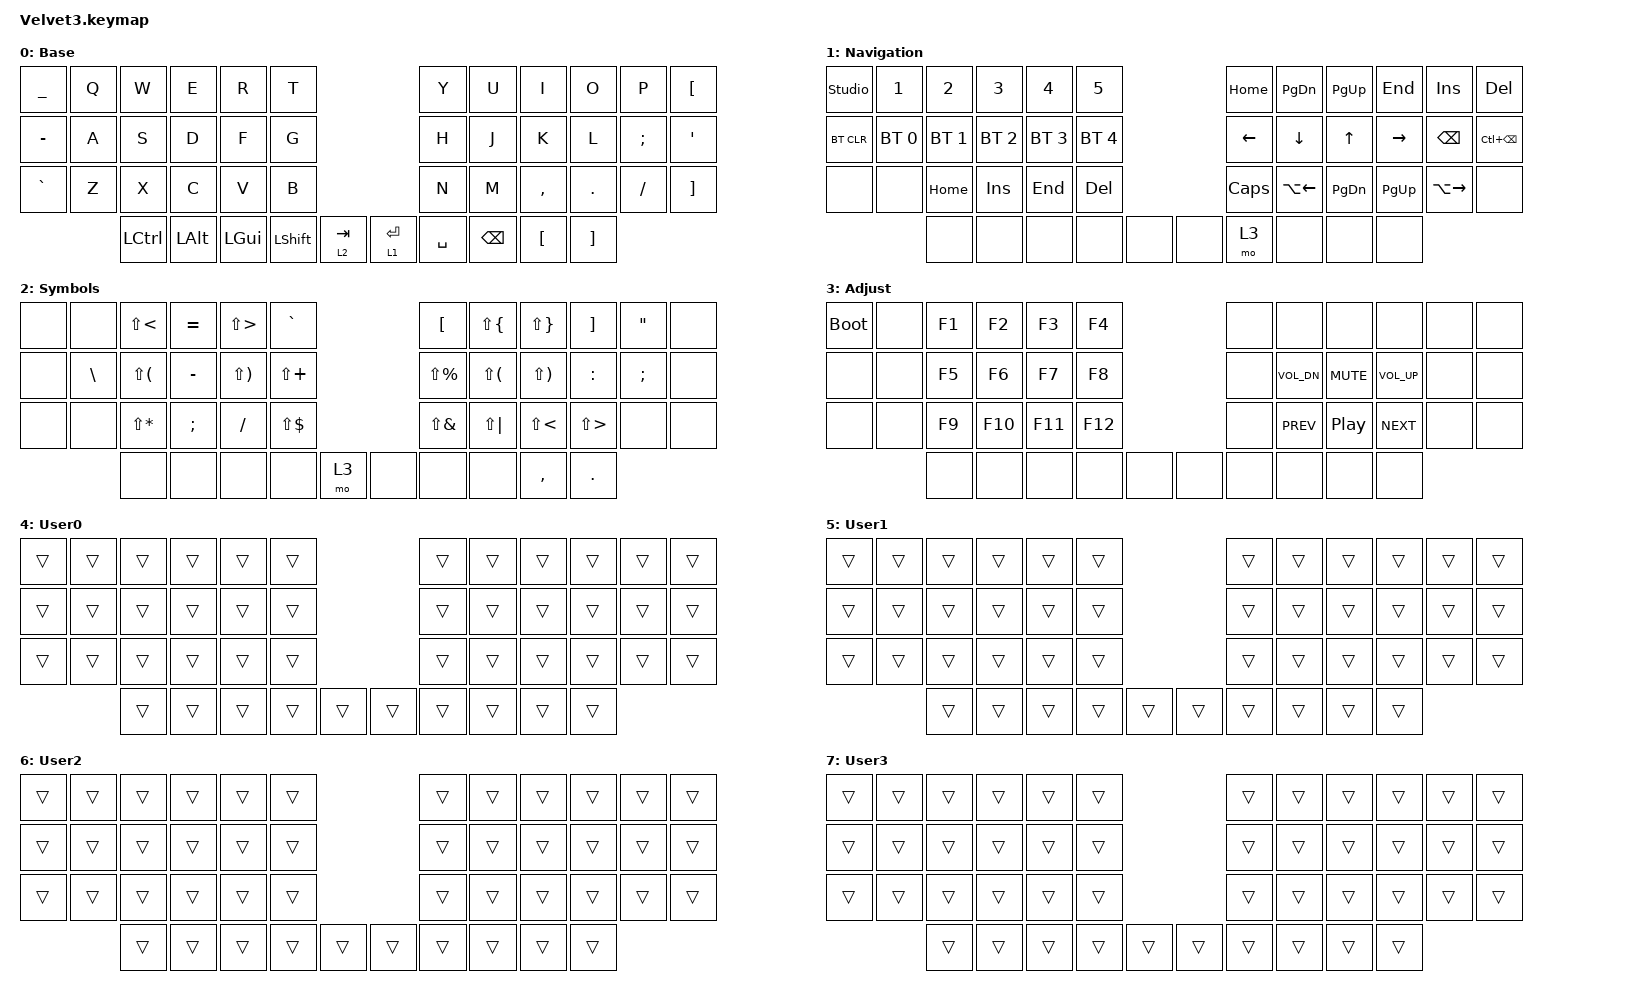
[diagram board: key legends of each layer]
#include <behaviors.dtsi>
#include <dt-bindings/zmk/bt.h>
#include <dt-bindings/zmk/keys.h>

/ {
    keymap {
        compatible = "zmk,keymap";

        Base {
            bindings = <
&kp UNDER  &kp Q  &kp W             &kp E         &kp R         &kp T                                     &kp Y      &kp U          &kp I      &kp O     &kp P      &kp LEFT_BRACKET
&kp MINUS  &kp A  &kp S             &kp D         &kp F         &kp G                                     &kp H      &kp J          &kp K      &kp L     &kp SEMI   &kp SQT
&kp GRAVE  &kp Z  &kp X             &kp C         &kp V         &kp B                                     &kp N      &kp M          &kp COMMA  &kp DOT   &kp SLASH  &kp RIGHT_BRACKET
                  &kp LEFT_CONTROL  &kp LEFT_ALT  &kp LEFT_GUI  &kp LEFT_SHIFT  &lt 2 TAB    &lt 1 ENTER  &kp SPACE  &kp BACKSPACE  &kp LBKT   &kp RBKT
            >;

            label = "Base";
        };

        Navigation {
            bindings = <
&studio_unlock  &kp N1        &kp N2        &kp N3        &kp N4        &kp N5                        &kp HOME  &kp PAGE_DOWN  &kp PAGE_UP    &kp END      &kp INS        &kp DEL
&bt BT_CLR      &bt BT_SEL 0  &bt BT_SEL 1  &bt BT_SEL 2  &bt BT_SEL 3  &bt BT_SEL 4                  &kp LEFT  &kp DOWN       &kp UP_ARROW   &kp RIGHT    &kp BACKSPACE  &kp LC(BACKSPACE)
&none           &none         &kp HOME      &kp INS       &kp END       &kp DEL                       &kp CLCK  &kp LA(LEFT)   &kp PAGE_DOWN  &kp PAGE_UP  &kp LA(RIGHT)  &none
                              &none         &none         &none         &none         &none    &none  &mo 3     &none          &none          &none
            >;

            label = "Navigation";
        };

        Symbols {
            bindings = <
&none  &none     &kp LS(LT)    &kp EQUAL  &kp LS(GT)    &kp GRAVE                     &kp LEFT_BRACKET   &kp LS(LEFT_BRACE)        &kp LS(RIGHT_BRACE)        &kp RIGHT_BRACKET     &kp DOUBLE_QUOTES  &none
&none  &kp BSLH  &kp LS(LPAR)  &kp MINUS  &kp LS(RPAR)  &kp LS(PLUS)                  &kp LS(PRCNT)      &kp LS(LEFT_PARENTHESIS)  &kp LS(RIGHT_PARENTHESIS)  &kp COLON             &kp SEMICOLON      &none
&none  &none     &kp LS(STAR)  &kp SEMI   &kp FSLH      &kp LS(DLLR)                  &kp LS(AMPERSAND)  &kp LS(PIPE)              &kp LS(LESS_THAN)          &kp LS(GREATER_THAN)  &none              &none
                 &none         &none      &none         &none         &mo 3    &none  &none              &none                     &kp COMMA                  &kp PERIOD
            >;

            label = "Symbols";
        };

        Adjust {
            bindings = <
&bootloader  &none  &kp F1  &kp F2   &kp F3   &kp F4                   &none  &none         &none             &none            &none  &none
&none        &none  &kp F5  &kp F6   &kp F7   &kp F8                   &none  &kp C_VOL_DN  &kp C_MUTE        &kp C_VOLUME_UP  &none  &none
&none        &none  &kp F9  &kp F10  &kp F11  &kp F12                  &none  &kp K_PREV    &kp C_PLAY_PAUSE  &kp K_NEXT       &none  &none
                    &none   &none    &none    &none    &none    &none  &none  &none         &none             &none
            >;

            label = "Adjust";
        };

        User0 {
            bindings = <
&trans  &trans  &trans  &trans  &trans  &trans                    &trans  &trans  &trans  &trans  &trans  &trans
&trans  &trans  &trans  &trans  &trans  &trans                    &trans  &trans  &trans  &trans  &trans  &trans
&trans  &trans  &trans  &trans  &trans  &trans                    &trans  &trans  &trans  &trans  &trans  &trans
                &trans  &trans  &trans  &trans  &trans    &trans  &trans  &trans  &trans  &trans
            >;

            label = "User0";
        };

        User1 {
            bindings = <
&trans  &trans  &trans  &trans  &trans  &trans                    &trans  &trans  &trans  &trans  &trans  &trans
&trans  &trans  &trans  &trans  &trans  &trans                    &trans  &trans  &trans  &trans  &trans  &trans
&trans  &trans  &trans  &trans  &trans  &trans                    &trans  &trans  &trans  &trans  &trans  &trans
                &trans  &trans  &trans  &trans  &trans    &trans  &trans  &trans  &trans  &trans
            >;

            label = "User1";
        };

        User2 {
            bindings = <
&trans  &trans  &trans  &trans  &trans  &trans                    &trans  &trans  &trans  &trans  &trans  &trans
&trans  &trans  &trans  &trans  &trans  &trans                    &trans  &trans  &trans  &trans  &trans  &trans
&trans  &trans  &trans  &trans  &trans  &trans                    &trans  &trans  &trans  &trans  &trans  &trans
                &trans  &trans  &trans  &trans  &trans    &trans  &trans  &trans  &trans  &trans
            >;

            label = "User2";
        };

        User3 {
            bindings = <
&trans  &trans  &trans  &trans  &trans  &trans                    &trans  &trans  &trans  &trans  &trans  &trans
&trans  &trans  &trans  &trans  &trans  &trans                    &trans  &trans  &trans  &trans  &trans  &trans
&trans  &trans  &trans  &trans  &trans  &trans                    &trans  &trans  &trans  &trans  &trans  &trans
                &trans  &trans  &trans  &trans  &trans    &trans  &trans  &trans  &trans  &trans
            >;

            label = "User3";
        };
    };
};
